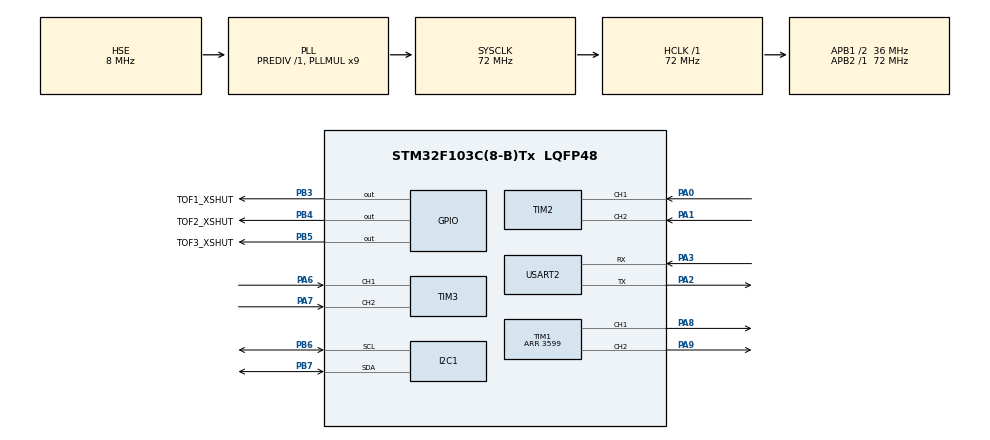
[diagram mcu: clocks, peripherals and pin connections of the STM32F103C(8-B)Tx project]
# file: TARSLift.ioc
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Mcu.Family=STM32F1
Mcu.Name=STM32F103C(8-B)Tx
Mcu.Package=LQFP48
NVIC.PriorityGroup=NVIC_PRIORITYGROUP_4
NVIC.USART2_IRQn=true\:0\:0\:false\:false\:true\:true\:true\:true
PA0-WKUP.Signal=S_TIM2_CH1_ETR
PA1.Signal=S_TIM2_CH2
PA13.Mode=Serial_Wire
PA13.Signal=SYS_JTMS-SWDIO
PA14.Mode=Serial_Wire
PA14.Signal=SYS_JTCK-SWCLK
PA2.Mode=Asynchronous
PA2.Signal=USART2_TX
PA3.Mode=Asynchronous
PA3.Signal=USART2_RX
PA6.Signal=S_TIM3_CH1
PA7.Signal=S_TIM3_CH2
PA8.Signal=S_TIM1_CH1
PA9.Signal=S_TIM1_CH2
PB3.GPIO_Label=TOF1_XSHUT
PB3.Signal=GPIO_Output
PB4.GPIO_Label=TOF2_XSHUT
PB4.Signal=GPIO_Output
PB5.GPIO_Label=TOF3_XSHUT
PB5.Signal=GPIO_Output
PB6.Mode=I2C
PB6.Signal=I2C1_SCL
PB7.Mode=I2C
PB7.Signal=I2C1_SDA
PD0-OSC_IN.Mode=HSE-External-Oscillator
PD0-OSC_IN.Signal=RCC_OSC_IN
PD1-OSC_OUT.Mode=HSE-External-Oscillator
PD1-OSC_OUT.Signal=RCC_OSC_OUT
ProjectManager.HeapSize=0x200
ProjectManager.StackSize=0x400
ProjectManager.TargetToolchain=STM32CubeIDE
RCC.AHBFreq_Value=72000000
RCC.APB1CLKDivider=RCC_HCLK_DIV2
RCC.APB1Freq_Value=36000000
RCC.APB1TimFreq_Value=72000000
RCC.APB2Freq_Value=72000000
RCC.APB2TimFreq_Value=72000000
RCC.HCLKFreq_Value=72000000
RCC.PLLMUL=RCC_PLL_MUL9
RCC.PLLSourceVirtual=RCC_PLLSOURCE_HSE
RCC.SYSCLKFreq_VALUE=72000000
RCC.SYSCLKSource=RCC_SYSCLKSOURCE_PLLCLK
RCC.USBFreq_Value=72000000
SH.S_TIM1_CH1.0=TIM1_CH1,PWM Generation1 CH1
SH.S_TIM1_CH2.0=TIM1_CH2,PWM Generation2 CH2
SH.S_TIM2_CH1_ETR.0=TIM2_CH1,Encoder_Interface
SH.S_TIM2_CH2.0=TIM2_CH2,Encoder_Interface
SH.S_TIM3_CH1.0=TIM3_CH1,Encoder_Interface
SH.S_TIM3_CH2.0=TIM3_CH2,Encoder_Interface
TIM1.Channel-PWM\ Generation1\ CH1=TIM_CHANNEL_1
TIM1.Channel-PWM\ Generation2\ CH2=TIM_CHANNEL_2
TIM1.Period=3599
TIM2.EncoderMode=TIM_ENCODERMODE_TI12
TIM3.EncoderMode=TIM_ENCODERMODE_TI12
USART2.VirtualMode=VM_ASYNC
VP_TIM1_VS_ClockSourceINT.Mode=Internal
board=custom

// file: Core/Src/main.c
/* USER CODE BEGIN Header */
/**
  ******************************************************************************
  * @file           : main.c
  * @brief          : Main program body
  ******************************************************************************
  * @attention
  *
  * Copyright (c) 2026 STMicroelectronics.
  * All rights reserved.
  *
  * This software is licensed under terms that can be found in the LICENSE file
  * in the root directory of this software component.
  * If no LICENSE file comes with this software, it is provided AS-IS.
  *
  ******************************************************************************
  */
/* USER CODE END Header */
#include "main.h"

/* USER CODE BEGIN Includes */
#include "agv_stm32_c.h"
/* USER CODE END Includes */

I2C_HandleTypeDef hi2c1;

TIM_HandleTypeDef htim1;
TIM_HandleTypeDef htim2;
TIM_HandleTypeDef htim3;

UART_HandleTypeDef huart2;

/* USER CODE BEGIN PV */
static agv_stm32_parser_t agv_parser;
static uint8_t rx_byte;
static uint8_t tx_buffer[128];

static int32_t current_left_dist_mm = 0;
static int32_t current_right_dist_mm = 0;
static int16_t current_yaw_deg_x10 = 0;
static uint32_t last_telemetry_time = 0;
/* USER CODE END PV */

void SystemClock_Config(void);
static void MX_GPIO_Init(void);
static void MX_I2C1_Init(void);
static void MX_TIM1_Init(void);
static void MX_TIM2_Init(void);
static void MX_TIM3_Init(void);
static void MX_USART2_UART_Init(void);
/* USER CODE BEGIN PFP */
void AGV_STM32_DispatchCommand(const agv_packet_t *pkt);
/* USER CODE END PFP */

/* USER CODE BEGIN 0 */
void AGV_STM32_DispatchCommand(const agv_packet_t *pkt) {
    switch (pkt->cmd) {
        case AGV_CMD_PING: {
            uint16_t tx_len = agv_build_ack(AGV_CMD_PING, AGV_RESULT_OK, pkt->seq, tx_buffer, sizeof(tx_buffer));
            HAL_UART_Transmit(&huart2, tx_buffer, tx_len, 100);
            break;
        }

        case AGV_CMD_HEARTBEAT: {
            uint16_t tx_len = agv_build_ack(AGV_CMD_HEARTBEAT, AGV_RESULT_OK, pkt->seq, tx_buffer, sizeof(tx_buffer));
            HAL_UART_Transmit(&huart2, tx_buffer, tx_len, 100);
            break;
        }

        case AGV_CMD_GET_STATUS: {
            uint16_t tx_len = agv_build_status(AGV_STATE_READY, 0x00, pkt->seq, tx_buffer, sizeof(tx_buffer));
            HAL_UART_Transmit(&huart2, tx_buffer, tx_len, 100);
            break;
        }

        case AGV_CMD_GET_VERSION: {
            uint16_t tx_len = agv_build_version(1, 0, 1, 2, 0, pkt->seq, tx_buffer, sizeof(tx_buffer));
            HAL_UART_Transmit(&huart2, tx_buffer, tx_len, 100);
            break;
        }

        case AGV_CMD_MOVE: {
            int32_t distance_mm = 0;
            uint16_t speed_mm_s = 0;
            if (agv_parse_move(pkt, &distance_mm, &speed_mm_s)) {
                current_left_dist_mm += distance_mm;
                current_right_dist_mm += distance_mm;

                uint16_t tx_len = agv_build_ack(AGV_CMD_MOVE, AGV_RESULT_OK, pkt->seq, tx_buffer, sizeof(tx_buffer));
                HAL_UART_Transmit(&huart2, tx_buffer, tx_len, 100);

                tx_len = agv_build_odometry(current_left_dist_mm, current_right_dist_mm, current_yaw_deg_x10, pkt->seq, tx_buffer, sizeof(tx_buffer));
                HAL_UART_Transmit(&huart2, tx_buffer, tx_len, 100);

                tx_len = agv_build_move_done(pkt->seq, AGV_RESULT_OK, pkt->seq + 1, tx_buffer, sizeof(tx_buffer));
                HAL_UART_Transmit(&huart2, tx_buffer, tx_len, 100);
            }
            break;
        }

        case AGV_CMD_TURN: {
            int16_t angle_deg_x10 = 0;
            uint16_t speed_deg_s = 0;
            if (agv_parse_turn(pkt, &angle_deg_x10, &speed_deg_s)) {
                current_yaw_deg_x10 += angle_deg_x10;

                uint16_t tx_len = agv_build_ack(AGV_CMD_TURN, AGV_RESULT_OK, pkt->seq, tx_buffer, sizeof(tx_buffer));
                HAL_UART_Transmit(&huart2, tx_buffer, tx_len, 100);

                tx_len = agv_build_turn_done(pkt->seq, AGV_RESULT_OK, pkt->seq + 1, tx_buffer, sizeof(tx_buffer));
                HAL_UART_Transmit(&huart2, tx_buffer, tx_len, 100);
            }
            break;
        }

        case AGV_CMD_STOP: {
            uint16_t tx_len = agv_build_ack(AGV_CMD_STOP, AGV_RESULT_OK, pkt->seq, tx_buffer, sizeof(tx_buffer));
            HAL_UART_Transmit(&huart2, tx_buffer, tx_len, 100);
            break;
        }

        default: {
            uint16_t tx_len = agv_build_ack(pkt->cmd, AGV_RESULT_OK, pkt->seq, tx_buffer, sizeof(tx_buffer));
            HAL_UART_Transmit(&huart2, tx_buffer, tx_len, 100);
            break;
        }
    }
}

void HAL_UART_RxCpltCallback(UART_HandleTypeDef *huart) {
    if (huart->Instance == USART2) {
        if (agv_stm32_parser_feed(&agv_parser, rx_byte)) {
            AGV_STM32_DispatchCommand(&agv_parser.rx_pkt);
        }
        HAL_UART_Receive_IT(&huart2, &rx_byte, 1);
    }
}
/* USER CODE END 0 */

int main(void)
{

  /* MCU Configuration--------------------------------------------------------*/

  /* Reset of all peripherals, Initializes the Flash interface and the Systick. */
  HAL_Init();

  /* Configure the system clock */
  SystemClock_Config();

  /* Initialize all configured peripherals */
  MX_GPIO_Init();
  MX_I2C1_Init();
  MX_TIM1_Init();
  MX_TIM2_Init();
  MX_TIM3_Init();
  MX_USART2_UART_Init();
  /* USER CODE BEGIN 2 */
  agv_stm32_parser_init(&agv_parser);
  HAL_UART_Receive_IT(&huart2, &rx_byte, 1);
  /* USER CODE END 2 */

  /* Infinite loop */
  while (1)
  {

    /* USER CODE BEGIN 3 */
    uint32_t now = HAL_GetTick();
    if (now - last_telemetry_time >= 50) { // 20Hz Odometry Telemetry to ESP32
        last_telemetry_time = now;
        uint16_t tx_len = agv_build_odometry(current_left_dist_mm, current_right_dist_mm, current_yaw_deg_x10, 0, tx_buffer, sizeof(tx_buffer));
        HAL_UART_Transmit(&huart2, tx_buffer, tx_len, 50);
    }
  }
  /* USER CODE END 3 */
}

void SystemClock_Config(void)
{
  RCC_OscInitTypeDef RCC_OscInitStruct = {0};
  RCC_ClkInitTypeDef RCC_ClkInitStruct = {0};

  /** Initializes the RCC Oscillators according to the specified parameters
  * in the RCC_OscInitTypeDef structure.
  */
  RCC_OscInitStruct.OscillatorType = RCC_OSCILLATORTYPE_HSE;
  RCC_OscInitStruct.HSEState = RCC_HSE_ON;
  RCC_OscInitStruct.HSEPredivValue = RCC_HSE_PREDIV_DIV1;
  RCC_OscInitStruct.HSIState = RCC_HSI_ON;
  RCC_OscInitStruct.PLL.PLLState = RCC_PLL_ON;
  RCC_OscInitStruct.PLL.PLLSource = RCC_PLLSOURCE_HSE;
  RCC_OscInitStruct.PLL.PLLMUL = RCC_PLL_MUL9;
  if (HAL_RCC_OscConfig(&RCC_OscInitStruct) != HAL_OK)
  {
    Error_Handler();
  }

  /** Initializes the CPU, AHB and APB buses clocks
  */
  RCC_ClkInitStruct.ClockType = RCC_CLOCKTYPE_HCLK|RCC_CLOCKTYPE_SYSCLK
                              |RCC_CLOCKTYPE_PCLK1|RCC_CLOCKTYPE_PCLK2;
  RCC_ClkInitStruct.SYSCLKSource = RCC_SYSCLKSOURCE_PLLCLK;
  RCC_ClkInitStruct.AHBCLKDivider = RCC_SYSCLK_DIV1;
  RCC_ClkInitStruct.APB1CLKDivider = RCC_HCLK_DIV2;
  RCC_ClkInitStruct.APB2CLKDivider = RCC_HCLK_DIV1;

  if (HAL_RCC_ClockConfig(&RCC_ClkInitStruct, FLASH_LATENCY_2) != HAL_OK)
  {
    Error_Handler();
  }
}

static void MX_I2C1_Init(void)
{

  hi2c1.Instance = I2C1;
  hi2c1.Init.ClockSpeed = 100000;
  hi2c1.Init.DutyCycle = I2C_DUTYCYCLE_2;
  hi2c1.Init.OwnAddress1 = 0;
  hi2c1.Init.AddressingMode = I2C_ADDRESSINGMODE_7BIT;
  hi2c1.Init.DualAddressMode = I2C_DUALADDRESS_DISABLE;
  hi2c1.Init.OwnAddress2 = 0;
  hi2c1.Init.GeneralCallMode = I2C_GENERALCALL_DISABLE;
  hi2c1.Init.NoStretchMode = I2C_NOSTRETCH_DISABLE;
  if (HAL_I2C_Init(&hi2c1) != HAL_OK)
  {
    Error_Handler();
  }

}

static void MX_TIM1_Init(void)
{

  TIM_ClockConfigTypeDef sClockSourceConfig = {0};
  TIM_MasterConfigTypeDef sMasterConfig = {0};
  TIM_OC_InitTypeDef sConfigOC = {0};
  TIM_BreakDeadTimeConfigTypeDef sBreakDeadTimeConfig = {0};

  htim1.Instance = TIM1;
  htim1.Init.Prescaler = 0;
  htim1.Init.CounterMode = TIM_COUNTERMODE_UP;
  htim1.Init.Period = 3599;
  htim1.Init.ClockDivision = TIM_CLOCKDIVISION_DIV1;
  htim1.Init.RepetitionCounter = 0;
  htim1.Init.AutoReloadPreload = TIM_AUTORELOAD_PRELOAD_DISABLE;
  if (HAL_TIM_Base_Init(&htim1) != HAL_OK)
  {
    Error_Handler();
  }
  sClockSourceConfig.ClockSource = TIM_CLOCKSOURCE_INTERNAL;
  if (HAL_TIM_ConfigClockSource(&htim1, &sClockSourceConfig) != HAL_OK)
  {
    Error_Handler();
  }
  if (HAL_TIM_PWM_Init(&htim1) != HAL_OK)
  {
    Error_Handler();
  }
  sMasterConfig.MasterOutputTrigger = TIM_TRGO_RESET;
  sMasterConfig.MasterSlaveMode = TIM_MASTERSLAVEMODE_DISABLE;
  if (HAL_TIMEx_MasterConfigSynchronization(&htim1, &sMasterConfig) != HAL_OK)
  {
    Error_Handler();
  }
  sConfigOC.OCMode = TIM_OCMODE_PWM1;
  sConfigOC.Pulse = 0;
  sConfigOC.OCPolarity = TIM_OCPOLARITY_HIGH;
  sConfigOC.OCNPolarity = TIM_OCNPOLARITY_HIGH;
  sConfigOC.OCFastMode = TIM_OCFAST_DISABLE;
  sConfigOC.OCIdleState = TIM_OCIDLESTATE_RESET;
  sConfigOC.OCNIdleState = TIM_OCNIDLESTATE_RESET;
  if (HAL_TIM_PWM_ConfigChannel(&htim1, &sConfigOC, TIM_CHANNEL_1) != HAL_OK)
  {
    Error_Handler();
  }
  if (HAL_TIM_PWM_ConfigChannel(&htim1, &sConfigOC, TIM_CHANNEL_2) != HAL_OK)
  {
    Error_Handler();
  }
  sBreakDeadTimeConfig.OffStateRunMode = TIM_OSSR_DISABLE;
  sBreakDeadTimeConfig.OffStateIDLEMode = TIM_OSSI_DISABLE;
  sBreakDeadTimeConfig.LockLevel = TIM_LOCKLEVEL_OFF;
  sBreakDeadTimeConfig.DeadTime = 0;
  sBreakDeadTimeConfig.BreakState = TIM_BREAK_DISABLE;
  sBreakDeadTimeConfig.BreakPolarity = TIM_BREAKPOLARITY_HIGH;
  sBreakDeadTimeConfig.AutomaticOutput = TIM_AUTOMATICOUTPUT_DISABLE;
  if (HAL_TIMEx_ConfigBreakDeadTime(&htim1, &sBreakDeadTimeConfig) != HAL_OK)
  {
    Error_Handler();
  }
  HAL_TIM_MspPostInit(&htim1);

}

static void MX_TIM2_Init(void)
{

  TIM_Encoder_InitTypeDef sConfig = {0};
  TIM_MasterConfigTypeDef sMasterConfig = {0};

  htim2.Instance = TIM2;
  htim2.Init.Prescaler = 0;
  htim2.Init.CounterMode = TIM_COUNTERMODE_UP;
  htim2.Init.Period = 65535;
  htim2.Init.ClockDivision = TIM_CLOCKDIVISION_DIV1;
  htim2.Init.AutoReloadPreload = TIM_AUTORELOAD_PRELOAD_DISABLE;
  sConfig.EncoderMode = TIM_ENCODERMODE_TI12;
  sConfig.IC1Polarity = TIM_ICPOLARITY_RISING;
  sConfig.IC1Selection = TIM_ICSELECTION_DIRECTTI;
  sConfig.IC1Prescaler = TIM_ICPSC_DIV1;
  sConfig.IC1Filter = 0;
  sConfig.IC2Polarity = TIM_ICPOLARITY_RISING;
  sConfig.IC2Selection = TIM_ICSELECTION_DIRECTTI;
  sConfig.IC2Prescaler = TIM_ICPSC_DIV1;
  sConfig.IC2Filter = 0;
  if (HAL_TIM_Encoder_Init(&htim2, &sConfig) != HAL_OK)
  {
    Error_Handler();
  }
  sMasterConfig.MasterOutputTrigger = TIM_TRGO_RESET;
  sMasterConfig.MasterSlaveMode = TIM_MASTERSLAVEMODE_DISABLE;
  if (HAL_TIMEx_MasterConfigSynchronization(&htim2, &sMasterConfig) != HAL_OK)
  {
    Error_Handler();
  }

}

static void MX_TIM3_Init(void)
{

  TIM_Encoder_InitTypeDef sConfig = {0};
  TIM_MasterConfigTypeDef sMasterConfig = {0};

  htim3.Instance = TIM3;
  htim3.Init.Prescaler = 0;
  htim3.Init.CounterMode = TIM_COUNTERMODE_UP;
  htim3.Init.Period = 65535;
  htim3.Init.ClockDivision = TIM_CLOCKDIVISION_DIV1;
  htim3.Init.AutoReloadPreload = TIM_AUTORELOAD_PRELOAD_DISABLE;
  sConfig.EncoderMode = TIM_ENCODERMODE_TI12;
  sConfig.IC1Polarity = TIM_ICPOLARITY_RISING;
  sConfig.IC1Selection = TIM_ICSELECTION_DIRECTTI;
  sConfig.IC1Prescaler = TIM_ICPSC_DIV1;
  sConfig.IC1Filter = 0;
  sConfig.IC2Polarity = TIM_ICPOLARITY_RISING;
  sConfig.IC2Selection = TIM_ICSELECTION_DIRECTTI;
  sConfig.IC2Prescaler = TIM_ICPSC_DIV1;
  sConfig.IC2Filter = 0;
  if (HAL_TIM_Encoder_Init(&htim3, &sConfig) != HAL_OK)
  {
    Error_Handler();
  }
  sMasterConfig.MasterOutputTrigger = TIM_TRGO_RESET;
  sMasterConfig.MasterSlaveMode = TIM_MASTERSLAVEMODE_DISABLE;
  if (HAL_TIMEx_MasterConfigSynchronization(&htim3, &sMasterConfig) != HAL_OK)
  {
    Error_Handler();
  }

}

static void MX_USART2_UART_Init(void)
{

  huart2.Instance = USART2;
  huart2.Init.BaudRate = 115200;
  huart2.Init.WordLength = UART_WORDLENGTH_8B;
  huart2.Init.StopBits = UART_STOPBITS_1;
  huart2.Init.Parity = UART_PARITY_NONE;
  huart2.Init.Mode = UART_MODE_TX_RX;
  huart2.Init.HwFlowCtl = UART_HWCONTROL_NONE;
  huart2.Init.OverSampling = UART_OVERSAMPLING_16;
  if (HAL_UART_Init(&huart2) != HAL_OK)
  {
    Error_Handler();
  }

}

static void MX_GPIO_Init(void)
{
  GPIO_InitTypeDef GPIO_InitStruct = {0};

  /* GPIO Ports Clock Enable */
  __HAL_RCC_GPIOD_CLK_ENABLE();
  __HAL_RCC_GPIOA_CLK_ENABLE();
  __HAL_RCC_GPIOB_CLK_ENABLE();

  /*Configure GPIO pin Output Level */
  HAL_GPIO_WritePin(GPIOB, TOF1_XSHUT_Pin|TOF2_XSHUT_Pin|TOF3_XSHUT_Pin, GPIO_PIN_RESET);

  /*Configure GPIO pins : TOF1_XSHUT_Pin TOF2_XSHUT_Pin TOF3_XSHUT_Pin */
  GPIO_InitStruct.Pin = TOF1_XSHUT_Pin|TOF2_XSHUT_Pin|TOF3_XSHUT_Pin;
  GPIO_InitStruct.Mode = GPIO_MODE_OUTPUT_PP;
  GPIO_InitStruct.Pull = GPIO_NOPULL;
  GPIO_InitStruct.Speed = GPIO_SPEED_FREQ_LOW;
  HAL_GPIO_Init(GPIOB, &GPIO_InitStruct);

}

void Error_Handler(void)
{
  __disable_irq();
  while (1)
  {
  }
}
